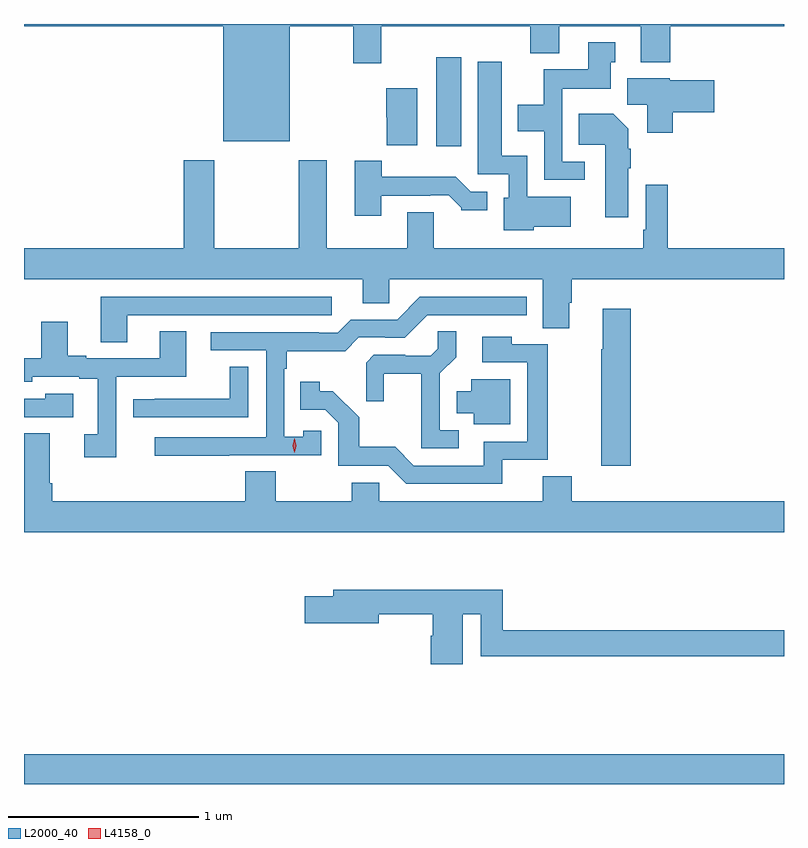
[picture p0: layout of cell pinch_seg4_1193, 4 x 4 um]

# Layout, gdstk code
import gdstk
lib = gdstk.Library(unit=1e-6, precision=1e-09)
def R(c, l, rs):  # rectangles x0, y0, x1, y1
    for r in rs: c.add(gdstk.rectangle(r[:2], r[2:], *l))
def P(c, l, *ps):  # polygons
    for p in ps: c.add(gdstk.Polygon(p, *l))
L2000_40 = (2000, 40)
L4158_0 = (4158, 0)

pinch_seg4_1193 = lib.new_cell('pinch_seg4_1193')
R(pinch_seg4_1193, L2000_40, [(337.684,794.164,341.684,794.32), (339.854,797.52,339.985,797.989)])
P(pinch_seg4_1193, L2000_40, [(339.082,798.152),(339.418,798.152),(339.418,797.958),(339.565,797.958),(339.565,798.152),(340.349,798.152),(340.349,798.011),(340.501,798.011),(340.501,798.152),(340.931,798.152),(340.931,797.963),(341.084,797.963),(341.084,798.152),(341.684,798.152),(341.684,798.164),(337.684,798.164),(337.684,798.152),(338.732,798.152),(338.732,797.546),(339.082,797.546)],
  [(340.636,797.439),(340.518,797.439),(340.518,797.822),(340.771,797.822),(340.771,797.964),(340.795,797.964),(340.795,798.067),(340.655,798.067),(340.655,797.926),(340.42,797.926),(340.42,797.74),(340.283,797.74),(340.283,797.6),(340.422,797.6),(340.422,797.343),(340.636,797.343)],
  [(340.368,797.096),(340.561,797.096),(340.561,797.254),(340.332,797.254),(340.332,797.47),(340.198,797.47),(340.198,797.965),(340.073,797.965),(340.073,797.373),(340.236,797.373),(340.236,797.25),(340.208,797.25),(340.208,797.078),(340.368,797.078)],
  [(341.099,797.699),(341.317,797.699),(341.317,797.869),(341.082,797.869),(341.082,797.878),(340.859,797.878),(340.859,797.74),(340.964,797.74),(340.964,797.592),(341.099,797.592)],
  [(339.754,797.827),(339.59,797.827),(339.59,797.673),(339.592,797.673),(339.592,797.525),(339.754,797.525)],
  [(340.864,797.404),(340.877,797.404),(340.877,797.507),(340.864,797.507),(340.864,797.614),(340.786,797.692),(340.603,797.692),(340.603,797.528),(340.742,797.528),(340.742,797.148),(340.864,797.148)],
  [(339.841,797.174),(339.701,797.174),(339.701,796.984),(339.277,796.984),(339.277,797.446),(339.13,797.446),(339.13,796.984),(338.685,796.984),(338.685,797.446),(338.525,797.446),(338.525,796.984),(337.684,796.984),(337.684,796.82),(339.467,796.82),(339.467,796.693),(339.606,796.693),(339.606,796.82),(340.415,796.82),(340.415,796.564),(340.555,796.564),(340.555,796.698),(340.568,796.698),(340.568,796.82),(341.684,796.82),(341.684,796.984),(341.072,796.984),(341.072,797.317),(340.956,797.317),(340.956,797.08),(340.944,797.08),(340.944,796.984),(339.841,796.984)],
  [(339.565,797.259),(339.821,797.259),(339.821,797.262),(339.92,797.262),(339.984,797.198),(339.984,797.183),(340.123,797.183),(340.123,797.28),(340.035,797.28),(339.957,797.359),(339.568,797.359),(339.568,797.443),(339.425,797.443),(339.425,797.154),(339.565,797.154)],
  [(338.765,795.894),(339.249,795.894),(339.249,796.023),(339.153,796.023),(339.153,795.991),(339.054,795.991),(339.054,796.349),(339.067,796.349),(339.067,796.442),(339.374,796.442),(339.447,796.515),(339.586,796.515),(339.586,796.512),(339.687,796.512),(339.807,796.632),(340.33,796.632),(340.33,796.728),(339.768,796.728),(339.648,796.608),(339.405,796.608),(339.336,796.539),(339.236,796.539),(339.236,796.542),(338.667,796.542),(338.667,796.446),(338.958,796.446),(338.958,795.99),(338.373,795.99),(338.373,795.892),(338.765,795.892)],
  [(338.227,796.632),(339.304,796.632),(339.304,796.728),(338.087,796.728),(338.087,796.489),(338.227,796.489)],
  [(340.877,796.666),(340.73,796.666),(340.73,796.453),(340.723,796.453),(340.723,795.84),(340.877,795.84)],
  [(338.169,796.308),(338.539,796.308),(338.539,796.547),(338.399,796.547),(338.399,796.404),(338.011,796.404),(338.011,796.417),(337.915,796.417),(337.915,796.597),(337.775,796.597),(337.775,796.404),(337.684,796.404),(337.684,796.281),(337.728,796.281),(337.728,796.308),(337.976,796.308),(337.976,796.296),(338.072,796.296),(338.072,796.005),(338.001,796.005),(338.001,795.885),(338.169,795.885)],
  [(339.973,796.026),(339.873,796.026),(339.873,796.325),(339.959,796.411),(339.959,796.547),(339.861,796.547),(339.861,796.456),(339.824,796.419),(339.69,796.419),(339.69,796.422),(339.525,796.422),(339.484,796.381),(339.484,796.179),(339.578,796.179),(339.578,796.322),(339.776,796.322),(339.776,795.93),(339.973,795.93)],
  [(340.202,795.87),(340.441,795.87),(340.441,796.479),(340.251,796.479),(340.251,796.519),(340.095,796.519),(340.095,796.383),(340.332,796.383),(340.332,795.966),(340.103,795.966),(340.103,795.84),(339.735,795.84),(339.637,795.939),(339.448,795.939),(339.448,796.094),(339.31,796.232),(339.24,796.232),(339.24,796.282),(339.139,796.282),(339.139,796.134),(339.27,796.134),(339.339,796.065),(339.339,795.84),(339.6,795.84),(339.696,795.744),(340.202,795.744)],
  [(338.865,796.361),(338.767,796.361),(338.767,796.191),(338.371,796.191),(338.371,796.19),(338.259,796.19),(338.259,796.095),(338.865,796.095)],
  [(340.243,796.294),(340.037,796.294),(340.037,796.231),(339.962,796.231),(339.962,796.115),(340.052,796.115),(340.052,796.058),(340.243,796.058)],
  [(337.942,796.219),(337.797,796.219),(337.797,796.191),(337.684,796.191),(337.684,796.095),(337.942,796.095)],
  [(341.684,795.652),(340.568,795.652),(340.568,795.785),(340.415,795.785),(340.415,795.652),(339.555,795.652),(339.555,795.75),(339.409,795.75),(339.409,795.652),(339.009,795.652),(339.009,795.809),(338.849,795.809),(338.849,795.652),(337.832,795.652),(337.832,795.748),(337.819,795.748),(337.819,796.009),(337.684,796.009),(337.684,795.488),(341.684,795.488)],
  [(339.994,795.058),(340.089,795.058),(340.089,794.836),(341.684,794.836),(341.684,794.972),(340.205,794.972),(340.205,795.187),(339.311,795.187),(339.311,795.153),(339.162,795.153),(339.162,795.011),(339.55,795.011),(339.55,795.058),(339.836,795.058),(339.836,794.943),(339.824,794.943),(339.824,794.793),(339.994,794.793)])
P(pinch_seg4_1193, L4158_0, [(339.108,795.909),(339.107,795.91),(339.098,795.945),(339.107,795.981),(339.108,795.981),(339.108,795.981),(339.118,795.945),(339.108,795.91)])

lib.write_gds('pinch_seg4_1193.gds')
